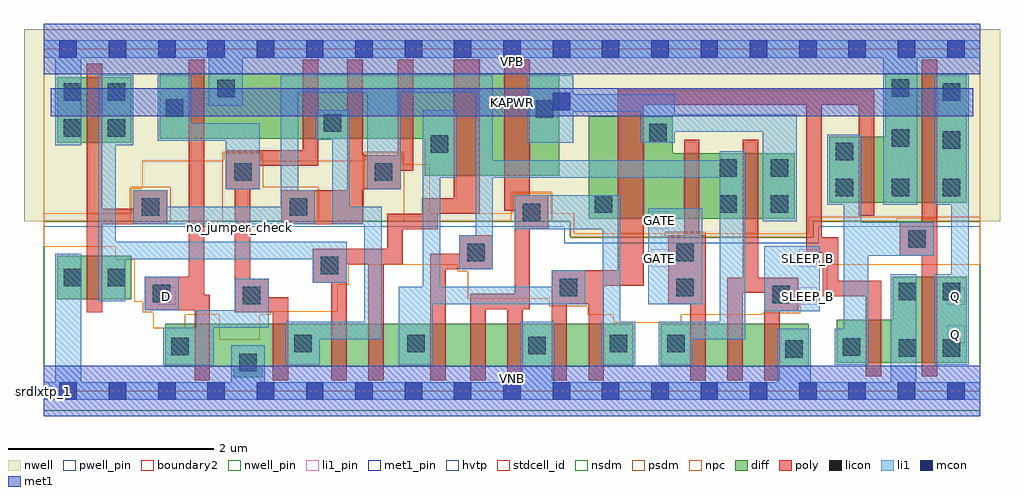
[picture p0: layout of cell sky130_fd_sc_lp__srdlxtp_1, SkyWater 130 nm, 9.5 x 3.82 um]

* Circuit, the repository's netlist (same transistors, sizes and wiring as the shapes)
* Copyright 2020 The SkyWater PDK Authors
*
* Licensed under the Apache License, Version 2.0 (the "License");
* you may not use this file except in compliance with the License.
* You may obtain a copy of the License at
*
*     https://www.apache.org/licenses/LICENSE-2.0
*
* Unless required by applicable law or agreed to in writing, software
* distributed under the License is distributed on an "AS IS" BASIS,
* WITHOUT WARRANTIES OR CONDITIONS OF ANY KIND, either express or implied.
* See the License for the specific language governing permissions and
* limitations under the License.
*
* SPDX-License-Identifier: Apache-2.0

.SUBCKT sky130_fd_sc_lp__srdlxtp_1 D GATE SLEEP_B KAPWR VGND VNB VPB VPWR Q
*.PININFO D:I GATE:I SLEEP_B:I KAPWR:I VGND:I VNB:I VPB:I VPWR:I Q:O
MI673 net74 net88 net87 VNB sky130_fd_pr__nfet_01v8 m=1 w=0.42U l=0.15U mult=1
+ sa=0.265 sb=0.265 sd=0.28 area=0.063 perim=1.14
MI642 clkneg GATE net46 VNB sky130_fd_pr__nfet_01v8 m=1 w=0.42U l=0.15U mult=1
+ sa=0.265 sb=0.265 sd=0.28 area=0.063 perim=1.14
MI636 clkpos clkneg VGND VNB sky130_fd_pr__nfet_01v8 m=1 w=0.42U l=0.15U mult=1
+ sa=0.265 sb=0.265 sd=0.28 area=0.063 perim=1.14
MI674 net88 s0 net71 VNB sky130_fd_pr__nfet_01v8 m=1 w=0.42U l=0.15U mult=1 sa=0.265
+ sb=0.265 sd=0.28 area=0.063 perim=1.14
MI637 db D VGND VNB sky130_fd_pr__nfet_01v8 m=1 w=0.42U l=0.15U mult=1 sa=0.265
+ sb=0.265 sd=0.28 area=0.063 perim=1.14
MI20 net62 db VGND VNB sky130_fd_pr__nfet_01v8 m=1 w=0.42U l=0.15U mult=1 sa=0.265
+ sb=0.265 sd=0.28 area=0.063 perim=1.14
MI656 net71 s0 VGND VNB sky130_fd_pr__nfet_01v8 m=1 w=0.42U l=0.15U mult=1 sa=0.265
+ sb=0.265 sd=0.28 area=0.063 perim=1.14
MI655 s0 clkneg net74 VNB sky130_fd_pr__nfet_01v8 m=1 w=0.42U l=0.15U mult=1 sa=0.265
+ sb=0.265 sd=0.28 area=0.063 perim=1.14
MI652 net119 s0 VGND VNB sky130_fd_pr__nfet_01v8 m=1 w=0.42U l=0.15U mult=1 sa=0.265
+ sb=0.265 sd=0.28 area=0.063 perim=1.14
MI653 Q net119 VGND VNB sky130_fd_pr__nfet_01v8 m=1 w=0.84U l=0.15U mult=1 sa=0.265
+ sb=0.265 sd=0.28 area=0.063 perim=1.14
MI654 net87 net88 VGND VNB sky130_fd_pr__nfet_01v8 m=1 w=0.42U l=0.15U mult=1 sa=0.265
+ sb=0.265 sd=0.28 area=0.063 perim=1.14
MI671 net91 SLEEP_B VGND VNB sky130_fd_pr__nfet_01v8 m=1 w=0.42U l=0.15U mult=1
+ sa=0.265 sb=0.265 sd=0.28 area=0.063 perim=1.14
MI670 net46 SLEEP_B net91 VNB sky130_fd_pr__nfet_01v8 m=1 w=0.42U l=0.15U mult=1
+ sa=0.265 sb=0.265 sd=0.28 area=0.063 perim=1.14
MI679 net043 clkpos s0 VNB sky130_fd_pr__nfet_01v8 m=1 w=0.42U l=0.15U mult=1 sa=0.265
+ sb=0.265 sd=0.28 area=0.063 perim=1.14
MI678 net62 clkpos net043 VNB sky130_fd_pr__nfet_01v8 m=1 w=0.42U l=0.15U mult=1
+ sa=0.265 sb=0.265 sd=0.28 area=0.063 perim=1.14
MI643 clkneg GATE KAPWR VPB sky130_fd_pr__pfet_01v8_hvt m=1 w=0.64U l=0.15U mult=1
+ sa=0.265 sb=0.265 sd=0.28 area=0.063 perim=1.14
MI635 clkpos clkneg VPWR VPB sky130_fd_pr__pfet_01v8_hvt m=1 w=0.64U l=0.15U mult=1
+ sa=0.265 sb=0.265 sd=0.28 area=0.063 perim=1.14
MI662 net107 net88 KAPWR VPB sky130_fd_pr__pfet_01v8_hvt m=1 w=1.0U l=0.25U mult=1
+ sa=0.265 sb=0.265 sd=0.28 area=0.063 perim=1.14
MI664 s0 clkpos net107 VPB sky130_fd_pr__pfet_01v8_hvt m=1 w=1.0U l=0.25U mult=1
+ sa=0.265 sb=0.265 sd=0.28 area=0.063 perim=1.14
MI658 net88 s0 KAPWR VPB sky130_fd_pr__pfet_01v8_hvt m=1 w=1.0U l=0.25U mult=1
+ sa=0.265 sb=0.265 sd=0.28 area=0.063 perim=1.14
MI663 net119 s0 VPWR VPB sky130_fd_pr__pfet_01v8_hvt m=1 w=0.64U l=0.15U mult=1
+ sa=0.265 sb=0.265 sd=0.28 area=0.063 perim=1.14
MI660 Q net119 VPWR VPB sky130_fd_pr__pfet_01v8_hvt m=1 w=1.26U l=0.15U mult=1
+ sa=0.265 sb=0.265 sd=0.28 area=0.063 perim=1.14
MI18 net62 db VPWR VPB sky130_fd_pr__pfet_01v8_hvt m=1 w=0.64U l=0.15U mult=1 sa=0.265
+ sb=0.265 sd=0.28 area=0.063 perim=1.14
MI638 db D VPWR VPB sky130_fd_pr__pfet_01v8_hvt m=1 w=0.64U l=0.15U mult=1 sa=0.265
+ sb=0.265 sd=0.28 area=0.063 perim=1.14
MI672 clkneg SLEEP_B KAPWR VPB sky130_fd_pr__pfet_01v8_hvt m=1 w=0.64U l=0.15U mult=1
+ sa=0.265 sb=0.265 sd=0.28 area=0.063 perim=1.14
MI677 net0106 clkneg s0 VPB sky130_fd_pr__pfet_01v8_hvt m=1 w=0.64U l=0.15U mult=1
+ sa=0.265 sb=0.265 sd=0.28 area=0.063 perim=1.14
MI676 net62 clkneg net0106 VPB sky130_fd_pr__pfet_01v8_hvt m=1 w=0.64U l=0.15U mult=1
+ sa=0.265 sb=0.265 sd=0.28 area=0.063 perim=1.14
.ENDS sky130_fd_sc_lp__srdlxtp_1

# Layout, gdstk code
import gdstk
lib = gdstk.Library(unit=1e-6, precision=1e-09)
def R(c, l, rs):  # rectangles x0, y0, x1, y1
    for r in rs: c.add(gdstk.rectangle(r[:2], r[2:], *l))
def A(c, l, x, y, w, h, nx, ny, dx, dy):  # array of equal rectangles
    R(c, l, [(x+i*dx, y+j*dy, x+i*dx+w, y+j*dy+h) for i in range(nx) for j in range(ny)])
def P(c, l, *ps):  # polygons
    for p in ps: c.add(gdstk.Polygon(p, *l))
nwell_pin = (64, 16)
nwell = (64, 20)
diff = (65, 20)
poly = (66, 20)
licon = (66, 44)
li1_pin = (67, 16)
li1 = (67, 20)
mcon = (67, 44)
met1_pin = (68, 16)
met1 = (68, 20)
hvtp = (78, 44)
stdcell_id = (81, 4)
nsdm = (93, 44)
psdm = (94, 20)
npc = (95, 20)
pwell_pin = (122, 16)
boundary2 = (236, 0)

sky130_fd_sc_lp__srdlxtp = lib.new_cell('sky130_fd_sc_lp__srdlxtp_1')
R(sky130_fd_sc_lp__srdlxtp, nwell_pin, [(0,3.085,9.12,3.33)])
P(sky130_fd_sc_lp__srdlxtp, nwell, [(9.31,3.52),(-0.19,3.52),(-0.19,1.655),(5.125,1.655),(5.125,1.495),(7.49,1.495),(7.49,1.655),(9.31,1.655)])
R(sky130_fd_sc_lp__srdlxtp, diff, [(6.01,0.235,7.45,0.655), (0.135,0.895,0.855,1.315), (0.135,2.415,0.855,3.055)])
P(sky130_fd_sc_lp__srdlxtp, diff, [(5.02,3.095),(1.13,3.095),(1.13,2.455),(3.71,2.455),(3.71,2.095),(5.02,2.095)],
  [(5.74,0.655),(1.185,0.655),(1.185,0.235),(1.845,0.235),(1.845,0.135),(2.135,0.135),(2.135,0.235),(5.74,0.235)],
  [(7.31,2.315),(6.125,2.315),(6.125,2.675),(5.305,2.675),(5.305,1.675),(7.31,1.675)],
  [(8.985,3.095),(8.195,3.095),(8.195,2.475),(7.65,2.475),(7.65,1.835),(8.985,1.835)],
  [(8.985,1.115),(8.265,1.115),(8.265,0.695),(7.72,0.695),(7.72,0.275),(8.985,0.275)])
P(sky130_fd_sc_lp__srdlxtp, poly, [(1.205,1.955),(0.875,1.955),(0.875,1.775),(0.57,1.775),(0.57,3.185),(0.42,3.185),(0.42,0.765),(0.57,0.765),(0.57,1.625),(1.205,1.625)],
  [(1.62,0.935),(1.565,0.935),(1.565,3.225),(1.415,3.225),(1.415,1.115),(0.985,1.115),(0.985,0.785),(1.47,0.785),(1.47,0.105),(1.62,0.105)],
  [(2.675,3.225),(2.525,3.225),(2.525,2.345),(1.775,2.345),(1.775,1.965),(1.86,1.965),(1.86,0.765),(2.23,0.765),(2.23,0.105),(2.38,0.105),(2.38,0.915),(2.19,0.915),(2.19,1.095),(2.01,1.095),(2.01,1.965),(2.105,1.965),(2.105,2.195),(2.675,2.195)],
  [(3.6,3.225),(3.45,3.225),(3.45,2.295),(3.105,2.295),(3.105,3.225),(2.955,3.225),(2.955,1.955),(2.315,1.955),(2.315,1.625),(3.105,1.625),(3.105,1.965),(3.475,1.965),(3.475,2.145),(3.6,2.145)],
  [(4.245,3.225),(3.995,3.225),(3.995,1.875),(3.685,1.875),(3.685,1.725),(3.345,1.725),(3.345,1.385),(2.62,1.385),(2.62,1.055),(2.8,1.055),(2.8,0.105),(2.95,0.105),(2.95,1.235),(3.16,1.235),(3.16,0.105),(3.31,0.105),(3.31,1.235),(3.495,1.235),(3.495,1.575),(3.835,1.575),(3.835,1.725),(4.245,1.725)],
  [(4.375,1.515),(4.045,1.515),(4.045,1.335),(3.765,1.335),(3.765,0.105),(3.915,0.105),(3.915,1.185),(4.375,1.185)],
  [(4.915,1.905),(4.735,1.905),(4.735,3.225),(4.485,3.225),(4.485,1.755),(4.585,1.755),(4.585,0.945),(4.155,0.945),(4.155,0.105),(4.305,0.105),(4.305,0.795),(4.515,0.795),(4.515,0.105),(4.665,0.105),(4.665,0.795),(4.735,0.795),(4.735,1.575),(4.915,1.575)],
  [(6.445,1.515),(6.385,1.515),(6.385,2.445),(6.235,2.445),(6.235,1.515),(6.08,1.515),(6.08,0.845),(6.295,0.845),(6.295,0.105),(6.445,0.105)],
  [(7.345,1.105),(6.955,1.105),(6.955,2.445),(6.805,2.445),(6.805,1.105),(6.655,1.105),(6.655,0.105),(6.805,0.105),(6.805,0.955),(7.015,0.955),(7.015,0.105),(7.165,0.105),(7.165,0.775),(7.345,0.775)],
  [(8.155,1.075),(7.735,1.075),(7.735,1.495),(7.575,1.495),(7.575,2.785),(7.935,2.785),(7.935,1.705),(8.085,1.705),(8.085,2.935),(5.59,2.935),(5.59,1.175),(4.945,1.175),(4.945,0.105),(5.095,0.105),(5.095,0.845),(5.305,0.845),(5.305,0.105),(5.455,0.105),(5.455,1.025),(5.84,1.025),(5.84,2.785),(7.425,2.785),(7.425,1.345),(7.585,1.345),(7.585,0.925),(8.005,0.925),(8.005,0.145),(8.155,0.145)],
  [(8.7,3.225),(8.55,3.225),(8.55,1.645),(8.335,1.645),(8.335,1.315),(8.55,1.315),(8.55,0.145),(8.7,0.145)])
A(sky130_fd_sc_lp__srdlxtp, licon, 8.255, 1.895, 0.17, 0.17, 1, 3, 0, 0.485)
A(sky130_fd_sc_lp__srdlxtp, licon, 8.755, 1.895, 0.17, 0.17, 1, 3, 0, 0.465)
R(sky130_fd_sc_lp__srdlxtp, licon, [(1.905,0.195,2.075,0.365), (7.22,0.325,7.39,0.495), (8.325,0.335,8.495,0.505), (8.755,0.335,8.925,0.505), (7.78,0.345,7.95,0.515), (1.245,0.35,1.415,0.52), (4.72,0.36,4.89,0.53), (2.44,0.38,2.61,0.55), (3.54,0.38,3.71,0.55), (5.51,0.38,5.68,0.55), (6.07,0.38,6.24,0.55), (1.94,0.845,2.11,1.015), (7.095,0.855,7.265,1.025), (1.065,0.865,1.235,1.035), (8.325,0.885,8.495,1.055), (8.755,0.885,8.925,1.055), (5.025,0.925,5.195,1.095), (6.16,0.925,6.33,1.095), (0.195,1.02,0.365,1.19), (0.625,1.02,0.795,1.19), (2.7,1.135,2.87,1.305), (4.125,1.265,4.295,1.435), (6.16,1.265,6.33,1.435), (8.415,1.395,8.585,1.565), (4.665,1.655,4.835,1.825), (0.955,1.705,1.125,1.875), (2.395,1.705,2.565,1.875), (5.365,1.735,5.535,1.905), (6.58,1.735,6.75,1.905), (7.08,1.735,7.25,1.905), (7.71,1.895,7.88,2.065), (1.855,2.045,2.025,2.215), (3.225,2.045,3.395,2.215), (6.58,2.085,6.75,2.255), (7.08,2.085,7.25,2.255), (7.71,2.245,7.88,2.415), (3.77,2.32,3.94,2.49), (5.895,2.43,6.065,2.6), (0.195,2.475,0.365,2.645), (0.625,2.475,0.795,2.645), (2.73,2.525,2.9,2.695), (4.79,2.66,4.96,2.83), (1.19,2.67,1.36,2.84), (0.195,2.825,0.365,2.995), (0.625,2.825,0.795,2.995), (1.69,2.86,1.86,3.03)])
R(sky130_fd_sc_lp__srdlxtp, li1_pin, [(8.795,0.47,8.965,0.64), (1.115,0.84,1.285,1.01), (7.355,0.84,7.525,1.01), (8.795,0.84,8.965,1.01), (5.915,1.21,6.085,1.38), (7.355,1.21,7.525,1.38), (5.915,1.58,6.085,1.75)])
R(sky130_fd_sc_lp__srdlxtp, li1, [(7.015,0.775,7.555,1.41), (0.985,0.785,1.315,1.115), (5.885,0.845,6.41,1.78), (3.15,1.965,3.475,2.905)])
P(sky130_fd_sc_lp__srdlxtp, li1, [(0.115,2.395),(0.115,3.245),(0,3.245),(0,3.415),(9.12,3.415),(9.12,3.245),(8.505,3.245),(8.505,1.815),(8.175,1.815),(8.175,3.245),(1.94,3.245),(1.94,2.775),(1.61,2.775),(1.61,3.245),(0.365,3.245),(0.365,2.395)],
  [(1.825,0.085),(1.825,0.445),(2.155,0.445),(2.155,0.085),(4.64,0.085),(4.64,0.675),(4.97,0.675),(4.97,0.085),(7.14,0.085),(7.14,0.605),(7.47,0.605),(7.47,0.085),(8.245,0.085),(8.245,1.135),(8.495,1.135),(8.495,0.085),(9.12,0.085),(9.12,-0.085),(0,-0.085),(0,0.085),(0.115,0.085),(0.115,1.335),(0.365,1.335),(0.365,0.085)],
  [(3.69,1.015),(3.69,2.735),(4.02,2.735),(4.02,2.075),(3.86,2.075),(3.86,1.015),(4.945,1.015),(4.945,1.175),(5.275,1.175),(5.275,0.845),(3.79,0.845),(3.79,0.255),(3.46,0.255),(3.46,1.015)],
  [(5.615,1.905),(5.615,0.675),(5.76,0.675),(5.76,0.255),(5.43,0.255),(5.43,0.675),(5.445,0.675),(5.445,1.575),(4.585,1.575),(4.585,1.905)],
  [(8.675,0.255),(8.675,1.135),(8.835,1.135),(8.835,1.815),(8.675,1.815),(8.675,3.075),(9.005,3.075),(9.005,0.255)],
  [(1.44,2.605),(2.105,2.605),(2.105,1.965),(1.775,1.965),(1.775,2.435),(1.11,2.435),(1.11,3.075),(1.44,3.075)],
  [(1.485,0.615),(1.485,0.785),(1.86,0.785),(1.86,1.095),(2.19,1.095),(2.19,0.615),(1.655,0.615),(1.655,0.255),(1.165,0.255),(1.165,0.615)],
  [(5.155,2.89),(6.145,2.89),(6.145,2.695),(7.33,2.695),(7.33,1.655),(7,1.655),(7,2.525),(6.145,2.525),(6.145,2.415),(5.815,2.415),(5.815,2.72),(5.155,2.72),(5.155,2.415),(4.71,2.415),(4.71,3.075),(5.155,3.075)],
  [(0.535,3.075),(0.875,3.075),(0.875,2.395),(0.705,2.395),(0.705,1.455),(2.95,1.455),(2.95,1.055),(2.62,1.055),(2.62,1.285),(0.795,1.285),(0.795,0.875),(0.535,0.875)],
  [(3.12,0.675),(3.12,1.625),(2.81,1.625),(2.81,2.445),(2.65,2.445),(2.65,2.735),(2.98,2.735),(2.98,1.795),(3.29,1.795),(3.29,0.505),(2.69,0.505),(2.69,0.255),(2.36,0.255),(2.36,0.675)],
  [(7.96,1.645),(8.665,1.645),(8.665,1.315),(8.03,1.315),(8.03,0.255),(7.7,0.255),(7.7,0.605),(7.79,0.605),(7.79,1.815),(7.63,1.815),(7.63,2.495),(7.96,2.495)],
  [(6.83,2.335),(6.58,2.335),(6.58,2.245),(4.375,2.245),(4.375,3.075),(2.31,3.075),(2.31,1.795),(1.205,1.795),(1.205,1.955),(0.875,1.955),(0.875,1.625),(2.64,1.625),(2.64,1.955),(2.48,1.955),(2.48,2.905),(4.205,2.905),(4.205,1.515),(4.045,1.515),(4.045,1.185),(4.375,1.185),(4.375,2.075),(6.58,2.075),(6.58,0.675),(5.99,0.675),(5.99,0.255),(6.32,0.255),(6.32,0.505),(6.83,0.505)])
A(sky130_fd_sc_lp__srdlxtp, mcon, 0.155, -0.085, 0.17, 0.17, 19, 2, 0.48, 3.33)
R(sky130_fd_sc_lp__srdlxtp, mcon, [(4.955,2.735,5.125,2.905)])
R(sky130_fd_sc_lp__srdlxtp, met1_pin, [(0,0,9.12,0.245), (0.07,2.675,9.05,2.945), (0,3.085,9.12,3.33)])
R(sky130_fd_sc_lp__srdlxtp, met1, [(0,-0.245,9.12,0.245), (0.07,2.675,9.05,2.945), (0,3.085,9.12,3.575)])
P(sky130_fd_sc_lp__srdlxtp, hvtp, [(9.12,3.33),(0,3.33),(0,1.6),(5.07,1.6),(5.07,1.44),(7.545,1.44),(7.545,1.6),(9.12,1.6)])
R(sky130_fd_sc_lp__srdlxtp, stdcell_id, [(0,0,9.12,3.33)])
P(sky130_fd_sc_lp__srdlxtp, nsdm, [(9.12,1.655),(7.49,1.655),(7.49,1.495),(5.125,1.495),(5.125,1.655),(0,1.655),(0,-0.19),(9.12,-0.19)])
P(sky130_fd_sc_lp__srdlxtp, psdm, [(9.12,3.52),(0,3.52),(0,1.655),(0.845,1.655),(0.845,1.985),(1.235,1.985),(1.235,1.655),(1.745,1.655),(1.745,2.325),(2.135,2.325),(2.135,1.985),(2.675,1.985),(2.675,1.655),(3.115,1.655),(3.115,2.325),(3.505,2.325),(3.505,1.655),(4.555,1.655),(4.555,1.935),(4.945,1.935),(4.945,1.655),(5.125,1.655),(5.125,1.495),(6.05,1.495),(6.05,1.545),(6.44,1.545),(6.44,1.495),(7.49,1.495),(7.49,1.655),(8.305,1.655),(8.305,1.675),(8.695,1.675),(8.695,1.655),(9.12,1.655)])
P(sky130_fd_sc_lp__srdlxtp, npc, [(9.12,1.695),(7.45,1.695),(7.45,1.535),(5.165,1.535),(5.165,1.73),(4.935,1.73),(4.935,1.925),(4.565,1.925),(4.565,1.73),(3.76,1.73),(3.76,2.21),(3.495,2.21),(3.495,2.315),(3.125,2.315),(3.125,2.24),(2.125,2.24),(2.125,2.315),(1.755,2.315),(1.755,2.24),(0.96,2.24),(0.96,1.975),(0.855,1.975),(0.855,1.73),(0,1.73),(0,1.405),(0.7,1.405),(0.7,1.28),(0.885,1.28),(0.885,0.87),(0.965,0.87),(0.965,0.765),(1.07,0.765),(1.07,0.61),(1.38,0.61),(1.38,0.745),(1.71,0.745),(1.71,0.5),(2.105,0.5),(2.105,0.745),(2.21,0.745),(2.21,0.77),(2.865,0.77),(2.865,1.035),(2.97,1.035),(2.97,1.23),(4.025,1.23),(4.025,1.165),(4.13,1.165),(4.13,0.9),(4.925,0.9),(4.925,0.825),(5.295,0.825),(5.295,0.745),(5.545,0.745),(5.545,0.665),(6.205,0.665),(6.205,0.745),(6.995,0.745),(6.995,0.755),(7.365,0.755),(7.365,0.86),(7.63,0.86),(7.63,1.23),(9.12,1.23)])
R(sky130_fd_sc_lp__srdlxtp, pwell_pin, [(0,0,9.12,0.245)])
R(sky130_fd_sc_lp__srdlxtp, boundary2, [(0,0,9.12,3.33)])
sky130_fd_sc_lp__srdlxtp.add(gdstk.Label('VNB', (4.56,0.123), layer=64, texttype=59))
sky130_fd_sc_lp__srdlxtp.add(gdstk.Label('VPB', (4.56,3.208), layer=64, texttype=5))
sky130_fd_sc_lp__srdlxtp.add(gdstk.Label('srdlxtp_1', (0,0), layer=83, texttype=44))
sky130_fd_sc_lp__srdlxtp.add(gdstk.Label('no_jumper_check', (1.91,1.59), layer=83, texttype=44))
sky130_fd_sc_lp__srdlxtp.add(gdstk.Label('KAPWR', (4.56,2.81), layer=68, texttype=5))
sky130_fd_sc_lp__srdlxtp.add(gdstk.Label('VPWR', (4.56,3.208), layer=68, texttype=5))
sky130_fd_sc_lp__srdlxtp.add(gdstk.Label('VGND', (4.56,0.123), layer=68, texttype=5))
sky130_fd_sc_lp__srdlxtp.add(gdstk.Label('SLEEP_B', (7.44,0.925), layer=67, texttype=5))
sky130_fd_sc_lp__srdlxtp.add(gdstk.Label('SLEEP_B', (7.44,1.295), layer=67, texttype=5))
sky130_fd_sc_lp__srdlxtp.add(gdstk.Label('Q', (8.88,0.555), layer=67, texttype=5))
sky130_fd_sc_lp__srdlxtp.add(gdstk.Label('Q', (8.88,0.925), layer=67, texttype=5))
sky130_fd_sc_lp__srdlxtp.add(gdstk.Label('D', (1.2,0.925), layer=67, texttype=5))
sky130_fd_sc_lp__srdlxtp.add(gdstk.Label('GATE', (6,1.295), layer=67, texttype=5))
sky130_fd_sc_lp__srdlxtp.add(gdstk.Label('GATE', (6,1.665), layer=67, texttype=5))

lib.write_gds('sky130_fd_sc_lp__srdlxtp_1.gds')
